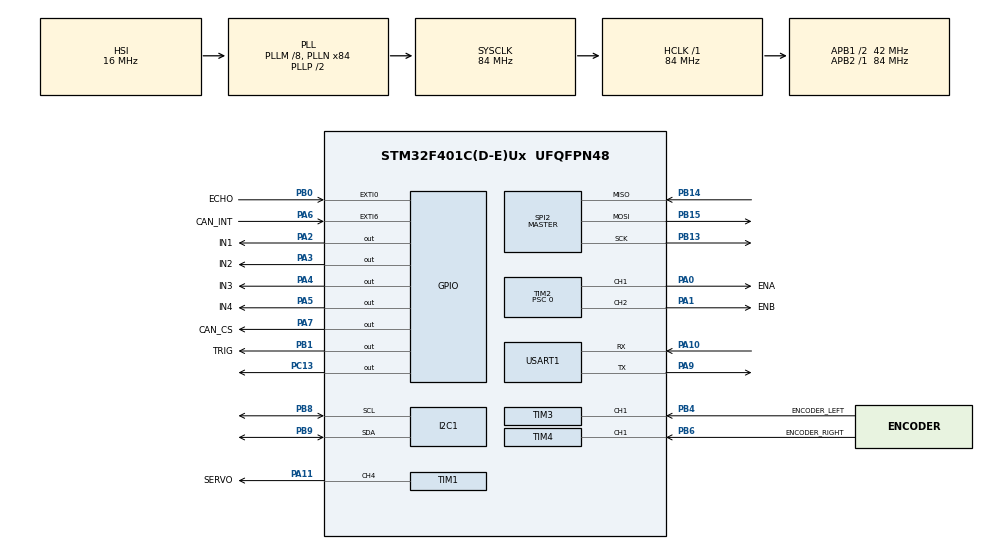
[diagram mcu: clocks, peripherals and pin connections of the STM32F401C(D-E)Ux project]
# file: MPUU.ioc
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FREERTOS.Tasks01=ControlTask,0,256,StartControlTask,Default,NULL,Dynamic,NULL,NULL;CanTX,-2,256,StartCanTX,Default,NULL,Dynamic,NULL,NULL;CanRX,2,256,StartCanRX,Default,NULL,Dynamic,NULL,NULL;SensorTask,1,256,StartSensorTask,Default,NULL,Dynamic,NULL,NULL
Mcu.Family=STM32F4
<<<<<<< HEAD
=======
>>>>>>> 3faaadd85c5af9eca4ef6b0895f32306aa979a87
Mcu.Name=STM32F401C(D-E)Ux
Mcu.Package=UFQFPN48
<<<<<<< HEAD
=======
>>>>>>> 3faaadd85c5af9eca4ef6b0895f32306aa979a87
<<<<<<< HEAD
=======
>>>>>>> 3faaadd85c5af9eca4ef6b0895f32306aa979a87
NVIC.EXTI0_IRQn=true\:5\:0\:false\:false\:true\:true\:true\:true\:true
NVIC.PriorityGroup=NVIC_PRIORITYGROUP_4
NVIC.TIM1_BRK_TIM9_IRQn=true\:15\:0\:false\:false\:true\:false\:false\:true\:true
NVIC.TimeBase=TIM1_BRK_TIM9_IRQn
NVIC.TimeBaseIP=TIM9
PA0-WKUP.GPIO_Label=ENA
PA0-WKUP.Signal=S_TIM2_CH1_ETR
PA1.GPIO_Label=ENB
PA1.Signal=S_TIM2_CH2
PA10.Mode=Asynchronous
PA10.Signal=USART1_RX
PA11.GPIO_Label=SERVO
PA11.Signal=S_TIM1_CH4
PA13.Mode=Serial_Wire
PA13.Signal=SYS_JTMS-SWDIO
PA14.Mode=Serial_Wire
PA14.Signal=SYS_JTCK-SWCLK
PA2.GPIO_Label=IN1
PA2.Signal=GPIO_Output
PA3.GPIO_Label=IN2
PA3.Signal=GPIO_Output
PA4.GPIO_Label=IN3
PA4.Signal=GPIO_Output
PA5.GPIO_Label=IN4
PA5.Signal=GPIO_Output
PA6.GPIO_Label=CAN_INT
PA6.GPIO_ModeDefaultEXTI=GPIO_MODE_IT_FALLING
PA6.Signal=GPXTI6
PA7.GPIO_Label=CAN_CS
PA7.PinState=GPIO_PIN_SET
PA7.Signal=GPIO_Output
PA9.Mode=Asynchronous
PA9.Signal=USART1_TX
PB0.GPIO_Label=ECHO
PB0.GPIO_ModeDefaultEXTI=GPIO_MODE_IT_RISING_FALLING
PB0.Signal=GPXTI0
PB1.GPIO_Label=TRIG
PB1.Signal=GPIO_Output
PB13.Mode=Full_Duplex_Master
PB13.Signal=SPI2_SCK
PB14.Mode=Full_Duplex_Master
PB14.Signal=SPI2_MISO
PB15.Mode=Full_Duplex_Master
PB15.Signal=SPI2_MOSI
PB4.GPIO_Label=ENCODER_LEFT
PB4.Signal=S_TIM3_CH1
PB6.GPIO_Label=ENCODER_RIGHT
PB6.Signal=S_TIM4_CH1
<<<<<<< HEAD
PB8.Mode=I2C
PB8.Signal=I2C1_SCL
PB9.Mode=I2C
PB9.Signal=I2C1_SDA
PC13-ANTI_TAMP.Signal=GPIO_Output
=======
PC13-ANTI_TAMP.Signal=GPIO_Output
>>>>>>> 3faaadd85c5af9eca4ef6b0895f32306aa979a87
PH0\ -\ OSC_IN.Mode=HSE-External-Oscillator
PH0\ -\ OSC_IN.Signal=RCC_OSC_IN
PH1\ -\ OSC_OUT.Mode=HSE-External-Oscillator
PH1\ -\ OSC_OUT.Signal=RCC_OSC_OUT
ProjectManager.HeapSize=0x200
ProjectManager.StackSize=0x400
ProjectManager.TargetToolchain=STM32CubeIDE
RCC.48MHZClocksFreq_Value=42000000
RCC.AHBFreq_Value=84000000
RCC.APB1CLKDivider=RCC_HCLK_DIV2
RCC.APB1Freq_Value=42000000
RCC.APB1TimFreq_Value=84000000
RCC.APB2Freq_Value=84000000
RCC.APB2TimFreq_Value=84000000
RCC.CortexFreq_Value=84000000
RCC.HCLKFreq_Value=84000000
RCC.HSE_VALUE=25000000
RCC.HSI_VALUE=16000000
RCC.LSE_VALUE=32768
RCC.PLLM=8
RCC.PLLN=84
RCC.SYSCLKFreq_VALUE=84000000
RCC.SYSCLKSource=RCC_SYSCLKSOURCE_PLLCLK
RCC.VCOOutputFreq_Value=168000000
SH.S_TIM1_CH4.0=TIM1_CH4,PWM Generation4 CH4
SH.S_TIM2_CH1_ETR.0=TIM2_CH1,PWM Generation1 CH1
SH.S_TIM2_CH2.0=TIM2_CH2,PWM Generation2 CH2
SH.S_TIM3_CH1.0=TIM3_CH1,TriggerSource_TI1FP1
SH.S_TIM4_CH1.0=TIM4_CH1,TriggerSource_TI1FP1
SPI2.Direction=SPI_DIRECTION_2LINES
SPI2.Mode=SPI_MODE_MASTER
SPI2.VirtualType=VM_MASTER
TIM1.Channel-PWM\ Generation4\ CH4=TIM_CHANNEL_4
TIM1.Period=19999
TIM1.Prescaler=83
TIM2.Channel-PWM\ Generation1\ CH1=TIM_CHANNEL_1
TIM2.Channel-PWM\ Generation2\ CH2=TIM_CHANNEL_2
TIM2.Period=999
TIM2.Prescaler=0
TIM5.Period=65535
TIM5.Prescaler=83
USART1.VirtualMode=VM_ASYNC
VP_FREERTOS_VS_CMSIS_V1.Mode=CMSIS_V1
VP_SYS_VS_tim9.Mode=TIM9
VP_TIM2_VS_ClockSourceINT.Mode=Internal
VP_TIM3_VS_ControllerModeClock.Mode=Clock Mode
VP_TIM4_VS_ControllerModeClock.Mode=Clock Mode
VP_TIM5_VS_ClockSourceINT.Mode=Internal
board=custom

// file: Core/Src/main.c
/* USER CODE BEGIN Header */
/**
  ******************************************************************************
  * @file           : main.c
  * @brief          : Main program body
  ******************************************************************************
  * @attention
  *
  * Copyright (c) 2026 STMicroelectronics.
  * All rights reserved.
  *
  * This software is licensed under terms that can be found in the LICENSE file
  * in the root directory of this software component.
  * If no LICENSE file comes with this software, it is provided AS-IS.
  *
  ******************************************************************************
  */
/* USER CODE END Header */
#include "main.h"
#include "cmsis_os.h"
#include "spi.h"
#include "tim.h"
#include "usart.h"
#include "gpio.h"
#include "mpu6050.h"
#include "CANSPI.h"
#include "debug.h"

void SystemClock_Config(void);
void MX_FREERTOS_Init(void);

int main(void)
{

  /* MCU Configuration--------------------------------------------------------*/

  /* Reset of all peripherals, Initializes the Flash interface and the Systick. */
  HAL_Init();

  /* USER CODE BEGIN Init */
  HAL_GPIO_WritePin(GPIOC, GPIO_PIN_13, GPIO_PIN_RESET);
  /* USER CODE END Init */

  /* Configure the system clock */
  SystemClock_Config();

  /* Initialize all configured peripherals */
  MX_GPIO_Init();
  MX_TIM2_Init();
  MX_USART1_UART_Init();
  MX_SPI2_Init();
  MX_TIM1_Init();
  MX_TIM3_Init();
  MX_TIM4_Init();
  MX_TIM5_Init();
  /* USER CODE BEGIN 2 */
  if (MPU6050_Init() == false) {
    debug_printf("ERROR: MPU6050 initialization failed!\r\n");
  } else {
    debug_printf("OK: MPU6050 initialized\r\n");
  }

  if (CANSPI_Initialize() == true) {
    debug_printf("OK: CAN (MCP2515) initialized\r\n");
  } else {
    debug_printf("ERROR: CAN (MCP2515) initialization failed!\r\n");
  }

  debug_printf("\r\n========== SYSTEM STARTED ==========");
  /* USER CODE END 2 */

  /* Call init function for freertos objects (in cmsis_os2.c) */
  MX_FREERTOS_Init();

  /* Start scheduler */
  osKernelStart();

  /* We should never get here as control is now taken by the scheduler */

  /* Infinite loop */
  while (1)
  {

  }
}

void SystemClock_Config(void)
{
  RCC_OscInitTypeDef RCC_OscInitStruct = {0};
  RCC_ClkInitTypeDef RCC_ClkInitStruct = {0};

  /** Configure the main internal regulator output voltage
  */
  __HAL_RCC_PWR_CLK_ENABLE();
  __HAL_PWR_VOLTAGESCALING_CONFIG(PWR_REGULATOR_VOLTAGE_SCALE2);

  /** Initializes the RCC Oscillators according to the specified parameters
  * in the RCC_OscInitTypeDef structure.
  */
  RCC_OscInitStruct.OscillatorType = RCC_OSCILLATORTYPE_HSI;
  RCC_OscInitStruct.HSIState = RCC_HSI_ON;
  RCC_OscInitStruct.HSICalibrationValue = RCC_HSICALIBRATION_DEFAULT;
  RCC_OscInitStruct.PLL.PLLState = RCC_PLL_ON;
  RCC_OscInitStruct.PLL.PLLSource = RCC_PLLSOURCE_HSI;
  RCC_OscInitStruct.PLL.PLLM = 8;
  RCC_OscInitStruct.PLL.PLLN = 84;
  RCC_OscInitStruct.PLL.PLLP = RCC_PLLP_DIV2;
  RCC_OscInitStruct.PLL.PLLQ = 4;
  if (HAL_RCC_OscConfig(&RCC_OscInitStruct) != HAL_OK)
  {
    Error_Handler();
  }

  /** Initializes the CPU, AHB and APB buses clocks
  */
  RCC_ClkInitStruct.ClockType = RCC_CLOCKTYPE_HCLK|RCC_CLOCKTYPE_SYSCLK
                              |RCC_CLOCKTYPE_PCLK1|RCC_CLOCKTYPE_PCLK2;
  RCC_ClkInitStruct.SYSCLKSource = RCC_SYSCLKSOURCE_PLLCLK;
  RCC_ClkInitStruct.AHBCLKDivider = RCC_SYSCLK_DIV1;
  RCC_ClkInitStruct.APB1CLKDivider = RCC_HCLK_DIV2;
  RCC_ClkInitStruct.APB2CLKDivider = RCC_HCLK_DIV1;

  if (HAL_RCC_ClockConfig(&RCC_ClkInitStruct, FLASH_LATENCY_2) != HAL_OK)
  {
    Error_Handler();
  }
}

void HAL_TIM_PeriodElapsedCallback(TIM_HandleTypeDef *htim)
{
  if (htim->Instance == TIM9)
  {
    HAL_IncTick();
  }
}

void Error_Handler(void)
{
  __disable_irq();
  while (1)
  {
  }
}

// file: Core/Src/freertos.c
/* USER CODE BEGIN Header */
/**
  ******************************************************************************
  * File Name          : freertos.c
  * Description        : Code for freertos applications
  ******************************************************************************
  */
/* USER CODE END Header */

#include "FreeRTOS.h"
#include "task.h"
#include "main.h"
#include "cmsis_os.h"

/* USER CODE BEGIN Includes */
#include "CANSPI.h"
#include "mpu6050.h"
#include "string.h"
#include <stdio.h>
#include "math.h"
#include "stdbool.h"
#include "debug.h"
#include "odometry.h"  // <--- Code của Lâm
/* USER CODE END Includes */

/* USER CODE BEGIN Variables */
extern UART_HandleTypeDef huart1;
extern SPI_HandleTypeDef hspi2;
OdometryHandle_t hOdom; // <--- THÊM BIẾN NÀY ĐỂ LƯU TỌA ĐỘ X, Y, THETA
volatile bool  obstacle_detected    = false;
volatile uint32_t pulse_left        = 0;
volatile uint32_t pulse_right       = 0;
volatile float desired_yaw          = 0.0f;

float speed_left    = 0.0f;
float speed_right   = 0.0f;
float total_distance = 0.0f;

volatile MPU6050_Angle_t mpu6050_angle = {0.0f, 0.0f, 0.0f};
volatile float mpu6050_roll  = 0.0f;
volatile float mpu6050_pitch = 0.0f;
volatile float mpu6050_yaw   = 0.0f;

float target_velocity = 0.0f;
float target_angular  = 0.0f;
const float DISTANCE_PER_PULSE = 0.01021f;

volatile uint32_t echo_time = 0;
volatile bool     echo_done = false;

/* Turn direction tracking via MPU6050 yaw */
volatile float yaw_before_turn = 0.0f;
volatile int16_t last_turn_direction = 0;

/* Debug variables for STLink watch */
volatile uint8_t can_tx_status = 0;
volatile uint8_t can_rx_status = 0;
volatile uint32_t can_tx_count = 0;
volatile uint32_t can_rx_count = 0;
volatile uint32_t can_last_rx_id = 0;
volatile float can_last_turn_yaw = 0.0f;

extern TIM_HandleTypeDef htim1;
extern TIM_HandleTypeDef htim2;
extern TIM_HandleTypeDef htim3;
extern TIM_HandleTypeDef htim4;
extern TIM_HandleTypeDef htim5;

/* PID Controller for Yaw Heading Correction */
typedef struct {
    float Kp;
    float Ki;
    float Kd;
    float error_integral;
    float error_prev;
    float integral_max;
    float output_max;
    float desired_yaw;
} YawPID_t;

static YawPID_t yaw_pid = {
    .Kp = 2.0f,
    .Ki = 0.3f,
    .Kd = 0.5f,
    .error_integral = 0.0f,
    .error_prev = 0.0f,
    .integral_max = 150.0f,
    .output_max = 400.0f,
    .desired_yaw = 0.0f
};

osSemaphoreId canRxSemaphoreHandle;
osMutexId spiMutexHandle;
bool heading_initialized = false;
volatile bool reset_imu_flag = false;
/* USER CODE END Variables */

osThreadId ControlTaskHandle;
osThreadId CanTXHandle;
osThreadId CanRXHandle;
osThreadId SensorTaskHandle;
osThreadId ImuTaskHandle;

/* USER CODE BEGIN FunctionPrototypes */
void Servo_SetAngle(uint8_t angle);
void Motor_SetSpeed(int16_t speed_left, int16_t speed_right);
void Robot_TurnLeft(void);
void Robot_TurnRight(void);
void Robot_TurnAround(void);
float HCSR04_GetDistance(void);
static void YawPID_Reset(void);
/* USER CODE END FunctionPrototypes */

void StartControlTask(void const * argument);
void StartCanTX(void const * argument);
void StartCanRX(void const * argument);
void StartSensorTask(void const * argument);
void StartImuTask(void const * argument);

void MX_FREERTOS_Init(void);

void vApplicationGetIdleTaskMemory(StaticTask_t **ppxIdleTaskTCBBuffer,
                                   StackType_t  **ppxIdleTaskStackBuffer,
                                   uint32_t      *pulIdleTaskStackSize);

static StaticTask_t xIdleTaskTCBBuffer;
static StackType_t  xIdleStack[configMINIMAL_STACK_SIZE];

void vApplicationGetIdleTaskMemory(StaticTask_t **ppxIdleTaskTCBBuffer,
                                   StackType_t  **ppxIdleTaskStackBuffer,
                                   uint32_t      *pulIdleTaskStackSize)
{
    *ppxIdleTaskTCBBuffer  = &xIdleTaskTCBBuffer;
    *ppxIdleTaskStackBuffer = &xIdleStack[0];
    *pulIdleTaskStackSize   = configMINIMAL_STACK_SIZE;
}

void MX_FREERTOS_Init(void)
{
    osSemaphoreDef(canRxSem);
    canRxSemaphoreHandle = osSemaphoreCreate(osSemaphore(canRxSem), 1);
    osSemaphoreWait(canRxSemaphoreHandle, 0);
    // BỔ SUNG 2 DÒNG NÀY VÀO ĐỂ TẠO MUTEX:
        osMutexDef(spiMutex);
        spiMutexHandle = osMutexCreate(osMutex(spiMutex));

    osThreadDef(ControlTask, StartControlTask, osPriorityNormal,      0, 256);
    ControlTaskHandle = osThreadCreate(osThread(ControlTask), NULL);

    osThreadDef(CanTX,       StartCanTX,       osPriorityLow,         0, 256);
    CanTXHandle = osThreadCreate(osThread(CanTX), NULL);

    osThreadDef(CanRX,       StartCanRX,       osPriorityHigh,        0, 256);
    CanRXHandle = osThreadCreate(osThread(CanRX), NULL);

    osThreadDef(SensorTask,  StartSensorTask,  osPriorityAboveNormal, 0, 512);
    SensorTaskHandle = osThreadCreate(osThread(SensorTask), NULL);

    osThreadDef(ImuTask,     StartImuTask,     osPriorityAboveNormal, 0, 256);
    ImuTaskHandle = osThreadCreate(osThread(ImuTask), NULL);
}

void StartImuTask(void const * argument)
{
    /* USER CODE BEGIN StartImuTask */
    static uint32_t imu_debug_counter = 0;
    float yaw_offset = 0.0f;
    for (;;)
    {
        MPU6050_Angle_t angle;
        if (MPU6050_ReadAngles(&angle)) {
            mpu6050_angle = angle;
            mpu6050_roll  = angle.roll;
            mpu6050_pitch = angle.pitch;
            mpu6050_yaw   = angle.yaw;
            if (reset_imu_flag == true) {
               yaw_offset = angle.yaw;
               reset_imu_flag = false; // Chốt xong thì tắt cờ
               }
            mpu6050_yaw = angle.yaw - yaw_offset;

            imu_debug_counter++;
            if (imu_debug_counter >= 2) {
                imu_debug_counter = 0;
                debug_printf("MPU6050 -> Roll:%.2f Pitch:%.2f Yaw:%.2f [RAW Ax:%d Ay:%d Az:%d Gx:%d Gy:%d Gz:%d]\r\n",
                    (double)mpu6050_roll, (double)mpu6050_pitch, (double)mpu6050_yaw,
                    mpu_raw_ax, mpu_raw_ay, mpu_raw_az, mpu_raw_gx, mpu_raw_gy, mpu_raw_gz);
            }
        } else {
            debug_printf("MPU6050 read FAILED!\r\n");
        }
        osDelay(50);
    }
    /* USER CODE END StartImuTask */
}

static float YawPID_Update(float desired_yaw, float current_yaw, float dt)
{
    float yaw_error = desired_yaw - current_yaw;
    while (yaw_error > 180.0f)  yaw_error -= 360.0f;
    while (yaw_error < -180.0f) yaw_error += 360.0f;

    float p_term = yaw_pid.Kp * yaw_error;

    yaw_pid.error_integral += yaw_error * dt;

    if (yaw_pid.error_integral > yaw_pid.integral_max) {
        yaw_pid.error_integral = yaw_pid.integral_max;
    } else if (yaw_pid.error_integral < -yaw_pid.integral_max) {
        yaw_pid.error_integral = -yaw_pid.integral_max;
    }

    float i_term = yaw_pid.Ki * yaw_pid.error_integral;

    float d_term = 0.0f;
    if (dt > 0.001f) {
        float error_derivative = (yaw_error - yaw_pid.error_prev) / dt;
        d_term = yaw_pid.Kd * error_derivative;
        yaw_pid.error_prev = yaw_error;
    }

    float correction = p_term + i_term + d_term;

    if (correction > yaw_pid.output_max) {
        correction = yaw_pid.output_max;
    } else if (correction < -yaw_pid.output_max) {
        correction = -yaw_pid.output_max;
    }

    return correction;
}

static void YawPID_Reset(void)
{
    yaw_pid.error_integral = 0.0f;
    yaw_pid.error_prev = 0.0f;
}

/* ══════════════════════════════════════════════════════════════════════════
   ControlTask — ĐÃ FIX LOGIC KHÔNG ĐÈ GÓC YAW & ODOMETRY CHUẨN
   ══════════════════════════════════════════════════════════════════════════ */
void StartControlTask(void const * argument)
{
    /* USER CODE BEGIN StartControlTask */
    HAL_TIM_PWM_Start(&htim2, TIM_CHANNEL_1);
    HAL_TIM_PWM_Start(&htim2, TIM_CHANNEL_2);
    HAL_TIM_PWM_Start(&htim1, TIM_CHANNEL_4);
    __HAL_TIM_MOE_ENABLE(&htim1);

    // =========================================================
    // CODE LÂM: ÉP CẤU HÌNH CHÂN ENCODER QUANG 1 DÂY
    // =========================================================
    GPIO_InitTypeDef GPIO_InitStruct = {0};
    __HAL_RCC_GPIOB_CLK_ENABLE();

    // Bánh Trái (TIM3) - Dây PB4
    GPIO_InitStruct.Pin = GPIO_PIN_4;
    GPIO_InitStruct.Mode = GPIO_MODE_AF_PP;
    GPIO_InitStruct.Pull = GPIO_NOPULL;
    GPIO_InitStruct.Speed = GPIO_SPEED_FREQ_HIGH;
    GPIO_InitStruct.Alternate = GPIO_AF2_TIM3;
    HAL_GPIO_Init(GPIOB, &GPIO_InitStruct);

    // Bánh Phải (TIM4) - Dây PB6
    GPIO_InitStruct.Pin = GPIO_PIN_6;
    GPIO_InitStruct.Alternate = GPIO_AF2_TIM4;
    HAL_GPIO_Init(GPIOB, &GPIO_InitStruct);

    HAL_TIM_Base_Start(&htim3);
    HAL_TIM_Base_Start(&htim4);

    // Khởi tạo Odometry: Bánh 3.3cm, Trục 10.6cm, 330 xung/vòng
    Odometry_Init(&hOdom, 0.033f, 0.106f, 330, NULL, NULL);

    uint32_t last_time = HAL_GetTick();
    static uint32_t debug_counter = 0;
    bool heading_initialized = false; // Phải khai báo biến này

    // BẮT BUỘC ĐỂ 2 BIẾN NÀY NGOÀI VÒNG LẶP ĐỂ NHỚ CHIỀU QUAY!
    int16_t cmd_left  = 600;
    int16_t cmd_right = 600;

    for (;;)
    {
        // 1. TÍNH dt
        uint32_t current_time = HAL_GetTick();
        float dt = (float)(current_time - last_time) / 1000.0f;
        if (dt > 0.1f) dt = 0.02f;
        if (dt < 0.001f) dt = 0.001f;
        last_time = current_time;

        // 2. ĐỌC ENCODER VÀ BÙ DẤU
        pulse_left  = __HAL_TIM_GET_COUNTER(&htim3);
        pulse_right = __HAL_TIM_GET_COUNTER(&htim4);
        __HAL_TIM_SET_COUNTER(&htim3, 0);
        __HAL_TIM_SET_COUNTER(&htim4, 0);

        float v_L_raw = ((float)pulse_left  * DISTANCE_PER_PULSE) / dt;
        float v_R_raw = ((float)pulse_right * DISTANCE_PER_PULSE) / dt;

        // Dùng cmd_left của vòng lặp TRƯỚC để biết chiều quay
        speed_left  = (cmd_left  < 0) ? -v_L_raw : v_L_raw;
        speed_right = (cmd_right < 0) ? -v_R_raw : v_R_raw;

        // 3. TÍNH TOÁN ODOMETRY (Lâm thêm vào đây)
        float v_center = (speed_left + speed_right) / 2.0f;
//        float omega = (speed_right - speed_left) / 0.106f;

//        hOdom.pose.theta += omega * dt;
//        if (hOdom.pose.theta > 3.14159f)  hOdom.pose.theta -= 6.28318f;
//        if (hOdom.pose.theta < -3.14159f) hOdom.pose.theta += 6.28318f;
        // THAY BẰNG DÒNG NÀY: Ép góc Theta bằng chính góc Yaw của MPU6050 (Đổi từ Độ sang Radian)
        hOdom.pose.theta = mpu6050_yaw * (3.14159f / 180.0f);
        hOdom.pose.x += v_center * cosf(hOdom.pose.theta) * dt;
        hOdom.pose.y += v_center * sinf(hOdom.pose.theta) * dt;

        // 4. CHẠY PID CỦA NHẬT
        if (obstacle_detected == false) {
            /* Chỉ lấy mpu6050_yaw gốc đúng 1 lần duy nhất lúc mới bật nguồn */
            if (!heading_initialized) {
                desired_yaw = mpu6050_yaw;
                yaw_pid.desired_yaw = desired_yaw;
                YawPID_Reset();
                heading_initialized = true;
            }

            /* Chạy PID ổn định hướng */
            float correction = YawPID_Update(desired_yaw, mpu6050_yaw, dt);

            debug_counter++;
            if (debug_counter >= 25) {
                debug_counter = 0;
                float yaw_err = desired_yaw - mpu6050_yaw;
                while (yaw_err > 180.0f) yaw_err -= 360.0f;
                while (yaw_err < -180.0f) yaw_err += 360.0f;

                debug_printf("[PID] Desired:%.2f Current:%.2f Error:%.2f | Correction:%.1f | Cmd_L:%d Cmd_R:%d\r\n",
                    (double)desired_yaw, (double)mpu6050_yaw, (double)yaw_err, (double)correction, cmd_left, cmd_right);
            }

            // Ghi đè biến cmd_left, cmd_right ĐỂ VÒNG LẶP SAU DÙNG BÙ DẤU
            cmd_left  = (int16_t)(600.0f + correction);
            cmd_right = (int16_t)(600.0f - correction);

            if (cmd_left > 999)  cmd_left = 999;
            if (cmd_left < 0)    cmd_left = 0;
            if (cmd_right > 999) cmd_right = 999;
            if (cmd_right < 0)   cmd_right = 0;

            Motor_SetSpeed(cmd_left, cmd_right);

        } else {
            /* FIX: Có vật cản -> Tắt MPU PID, dừng xích động cơ lập tức */
            speed_left  = 0.0f;
            speed_right = 0.0f;
            // Ép cmd về 0 để vòng lặp sau Encoder không bị nhận sai dấu
            cmd_left = 0;
            cmd_right = 0;
            heading_initialized = false;
        }

        osDelay(20);
    }
    /* USER CODE END StartControlTask */
}

void StartCanTX(void const * argument)
{
    /* USER CODE BEGIN StartCanTX */
    uCAN_MSG tx_frame;
    memset(&tx_frame, 0, sizeof(tx_frame)); // <--- Thêm dòng dọn rác này
    tx_frame.frame.idType = dSTANDARD_CAN_MSG_ID_2_0B;

    for (;;)
    {
        // ==========================================
        // 1. GÓI 0x201: TỌA ĐỘ X VÀ Y (Thay thế cho vận tốc)
        // ==========================================
        tx_frame.frame.id = 0x201;
        tx_frame.frame.dlc = 8;
        memcpy(&tx_frame.frame.data0, &hOdom.pose.x, 4); // 4 byte cho X
        memcpy(&tx_frame.frame.data4, &hOdom.pose.y, 4); // 4 byte cho Y

        // BẮT BUỘC kẹp Mutex bảo vệ SPI
        if (osMutexWait(spiMutexHandle, 10) == osOK) {
            uint8_t tx_status = CANSPI_Transmit(&tx_frame);
            osMutexRelease(spiMutexHandle);

            can_tx_status = tx_status;
            if (tx_status) can_tx_count++;
        }
        osDelay(5); // Nghỉ 5ms để MCP2515 xả bộ đệm, tránh rớt gói tin

        // ==========================================
        // 2. GÓI 0x203: GÓC THETA
        // ==========================================
        tx_frame.frame.id = 0x203;
        tx_frame.frame.dlc = 4; // Chỉ cần 4 byte cho 1 biến float
        memcpy(&tx_frame.frame.data0, &hOdom.pose.theta, 4);

        if (osMutexWait(spiMutexHandle, 10) == osOK) {
            CANSPI_Transmit(&tx_frame);
            osMutexRelease(spiMutexHandle);
        }
        osDelay(5); // Tiếp tục nghỉ 5ms

        // ==========================================
        // 3. GÓI 0x202: SỰ KIỆN RẼ (Của Nhật, giữ nguyên)
        // ==========================================
        if (last_turn_direction != 0) {
            uCAN_MSG turn_frame;
            turn_frame.frame.idType = dSTANDARD_CAN_MSG_ID_2_0B;
            turn_frame.frame.id     = 0x202;
            turn_frame.frame.dlc    = 6;

            int16_t turn_dir = last_turn_direction;
            memcpy(&turn_frame.frame.data0, &turn_dir, 2);

            float yaw_val = mpu6050_yaw;
            memcpy(&turn_frame.frame.data2, &yaw_val, 4);

            if (osMutexWait(spiMutexHandle, 10) == osOK) {
                uint8_t turn_tx = CANSPI_Transmit(&turn_frame);
                osMutexRelease(spiMutexHandle);

                can_tx_status = turn_tx;
                if (turn_tx) can_tx_count++;
            }
            can_last_turn_yaw = yaw_val;
            last_turn_direction = 0; // Xóa cờ sau khi gửi
        }

        // ==========================================
        // CHU KỲ CẬP NHẬT
        // ==========================================
        osDelay(100); // FIX: Giảm từ 500ms xuống 100ms để vẽ map mượt mà 10Hz
    }
    /* USER CODE END StartCanTX */
}

void StartCanRX(void const * argument)
{
    /* USER CODE BEGIN StartCanRX */
    uCAN_MSG rx_frame;

    for (;;)
    {
        if (osSemaphoreWait(canRxSemaphoreHandle, osWaitForever) == osOK)
        {
            uint8_t rx_result = 0;

            // 1. KẸP MUTEX BẢO VỆ CỔNG SPI TRƯỚC KHI ĐỌC MCP2515
            if (osMutexWait(spiMutexHandle, 10) == osOK) {
                rx_result = CANSPI_Receive(&rx_frame);
                osMutexRelease(spiMutexHandle);
            }

            can_rx_status = rx_result;

            if (rx_result) {
                can_rx_count++;
                can_last_rx_id = rx_frame.frame.id;

                // 2. XỬ LÝ GÓI TIN ĐIỀU KHIỂN
                if (rx_frame.frame.id == 0x101)
                {
                    // Copy 4 byte đầu cho Vận tốc
                    memcpy(&target_velocity, &rx_frame.frame.data0, 4);
                    // SỬA LỖI: Copy 4 byte sau cho Góc (Bắt đầu từ data4)
                    memcpy(&target_angular,  &rx_frame.frame.data4, 4);
                }
            }
        }
    }
    /* USER CODE END StartCanRX */
}

void StartSensorTask(void const * argument)
{
    /* USER CODE BEGIN StartSensorTask */
    Servo_SetAngle(90);
    osDelay(500);

    for (;;)
    {
        float dist_front = HCSR04_GetDistance();

        if (dist_front > 0.0f && dist_front < 25.0f) {
            obstacle_detected = true; // Kích hoạt cờ báo dừng PID và khóa động cơ bánh
            Motor_SetSpeed(0, 0);
            osDelay(1000);

            Servo_SetAngle(180);
            osDelay(1000);
            float dist_left = HCSR04_GetDistance();

            Servo_SetAngle(0);
            osDelay(1000);
            float dist_right = HCSR04_GetDistance();

            Servo_SetAngle(90);
            osDelay(1000);

            if (dist_left > dist_right && dist_left > 30.0f) {
                Robot_TurnLeft();
            } else if (dist_right > dist_left && dist_right > 30.0f) {
                Robot_TurnRight();
            } else {
                Robot_TurnAround();
            }

            obstacle_detected = false; // Nhường quyền lại cho PID điều khiển đi thẳng
        }

        osDelay(50);
    }
    /* USER CODE END StartSensorTask */
}

/* ══════════════════════════════════════════════════════════════════════════
   Application functions — THÊM LỆNH RESET BỘ NHỚ LỖI NGAY SAU KHI RẼ XONG
   ══════════════════════════════════════════════════════════════════════════ */

/* USER CODE BEGIN Application */

void Servo_SetAngle(uint8_t angle)
{
    if (angle > 180) angle = 180;
    uint32_t pulse = 800 + ((uint32_t)angle * 70) / 9;
    __HAL_TIM_SET_COMPARE(&htim1, TIM_CHANNEL_4, pulse);
}

void Motor_SetSpeed(int16_t speed_left, int16_t speed_right)
{

    if (speed_left >= 0) {
        HAL_GPIO_WritePin(GPIOA, GPIO_PIN_2, GPIO_PIN_SET);
        HAL_GPIO_WritePin(GPIOA, GPIO_PIN_3, GPIO_PIN_RESET);
        __HAL_TIM_SET_COMPARE(&htim2, TIM_CHANNEL_1, speed_left);
    } else {
        HAL_GPIO_WritePin(GPIOA, GPIO_PIN_2, GPIO_PIN_RESET);
        HAL_GPIO_WritePin(GPIOA, GPIO_PIN_3, GPIO_PIN_SET);
        __HAL_TIM_SET_COMPARE(&htim2, TIM_CHANNEL_1, -speed_left);
    }

    if (speed_right >= 0) {
        HAL_GPIO_WritePin(GPIOA, GPIO_PIN_4, GPIO_PIN_SET);
        HAL_GPIO_WritePin(GPIOA, GPIO_PIN_5, GPIO_PIN_RESET);
        __HAL_TIM_SET_COMPARE(&htim2, TIM_CHANNEL_2, speed_right);
    } else {
        HAL_GPIO_WritePin(GPIOA, GPIO_PIN_4, GPIO_PIN_RESET);
        HAL_GPIO_WritePin(GPIOA, GPIO_PIN_5, GPIO_PIN_SET);
        __HAL_TIM_SET_COMPARE(&htim2, TIM_CHANNEL_2, -speed_right);
    }
}

static float NormalizeYaw(float angle)
{
    while (angle > 180.0f)  angle -= 360.0f;
    while (angle < -180.0f) angle += 360.0f;
    return angle;
}

// Lấy trung bình góc để tránh nhiễu do thân xe còn rung lắc
static float GetStableYaw(void)
{
    float yaw1 = mpu6050_yaw;
    osDelay(100);
    float yaw2 = mpu6050_yaw;
    return NormalizeYaw((yaw1 + yaw2) * 0.5f);
}

static void SendTurnFrame(int16_t turn_dir, float yaw_val)
{
    uCAN_MSG turn_frame;
    memset(&turn_frame, 0, sizeof(turn_frame)); // Dọn rác bộ nhớ trước khi nạp data

    turn_frame.frame.idType = dSTANDARD_CAN_MSG_ID_2_0B;
    turn_frame.frame.id     = 0x202;
    turn_frame.frame.dlc    = 6;

    memcpy(&turn_frame.frame.data0, &turn_dir, 2);
    memcpy(&turn_frame.frame.data2, &yaw_val, 4);

    // Kẹp Mutex bảo vệ SPI để tránh đụng độ với luồng CanTX
    if (osMutexWait(spiMutexHandle, 10) == osOK) {
        uint8_t tx = CANSPI_Transmit(&turn_frame);
        osMutexRelease(spiMutexHandle);
        if (tx) can_tx_count++;
    }
}
// ==========================================
// CÁC HÀM RẼ QUÁN TÍNH (MÙ) - TINH GỌN
// ==========================================

void Robot_TurnLeft(void)
{
    // 1. Cấp ga rẽ mù (Căn lại osDelay cho vừa 90 độ)
    Motor_SetSpeed(999,0);
    osDelay(200);
    Motor_SetSpeed(0, 0);

    // 2. Chờ thân xe bớt rung lắc cơ học
    osDelay(50);
    reset_imu_flag = true; // Ra lệnh cho ImuTask tự tính lại mốc 0 độ

    desired_yaw = 0.0f;
    YawPID_Reset(); // BẮT BUỘC PHẢI CÓ
    // 4. Bắn sự kiện lên CAN (Quy ước -90 là rẽ trái)
    SendTurnFrame(-90, desired_yaw);
    char uart_msg[80];
    int len = sprintf(uart_msg, "[TURN] dir=LEFT yaw=%.2f\r\n", desired_yaw);
    HAL_UART_Transmit(&huart1, (uint8_t*)uart_msg, len, 100);
}

void Robot_TurnRight(void)
{
    // 1. Cấp ga rẽ mù
    Motor_SetSpeed(0,999);
    osDelay(200);
    Motor_SetSpeed(0, 0);

    // 2. Chờ thân xe tĩnh lại
    osDelay(50);
    reset_imu_flag = true; // Ra lệnh cho ImuTask tự tính lại mốc 0 độ
    desired_yaw = 0.0f;
    YawPID_Reset(); // BẮT BUỘC PHẢI CÓ
    // 4. Bắn sự kiện lên CAN (Quy ước 90 là rẽ phải)
    SendTurnFrame(90, desired_yaw);
    char uart_msg[80];
    int len = sprintf(uart_msg, "[TURN] dir=RIGHT yaw=%.2f\r\n", desired_yaw);
    HAL_UART_Transmit(&huart1, (uint8_t*)uart_msg, len, 100);
}

void Robot_TurnAround(void)
{
    // 1. Cấp ga rẽ mù quay đầu
    Motor_SetSpeed(999, 0);
    osDelay(400);
    Motor_SetSpeed(0, 0);

    // 2. Chờ thân xe tĩnh lại
    osDelay(50);
    reset_imu_flag = true; // Ra lệnh cho ImuTask tự tính lại mốc 0 độ
    desired_yaw = 0.0f;
    YawPID_Reset(); // BẮT BUỘC PHẢI CÓ

    // 4. Bắn sự kiện lên CAN (Quy ước 180 là quay đầu)
    SendTurnFrame(180, desired_yaw);
    char uart_msg[80];
    int len = sprintf(uart_msg, "[TURN] dir=AROUND yaw=%.2f\r\n", desired_yaw);
    HAL_UART_Transmit(&huart1, (uint8_t*)uart_msg, len, 100);
}

void HAL_GPIO_EXTI_Callback(uint16_t GPIO_Pin)
{
    if (GPIO_Pin == GPIO_PIN_0)
    {
        if (HAL_GPIO_ReadPin(GPIOB, GPIO_PIN_0) == GPIO_PIN_SET) {
            __HAL_TIM_SET_COUNTER(&htim5, 0);
            HAL_TIM_Base_Start(&htim5);
        } else {
            HAL_TIM_Base_Stop(&htim5);
            echo_time = __HAL_TIM_GET_COUNTER(&htim5);
            echo_done = true;
        }
    }
}

float HCSR04_GetDistance(void)
{
    echo_done = false;

    HAL_GPIO_WritePin(GPIOB, GPIO_PIN_1, GPIO_PIN_SET);
    for (volatile int i = 0; i < 200; i++) { __NOP(); }
    HAL_GPIO_WritePin(GPIOB, GPIO_PIN_1, GPIO_PIN_RESET);

    uint32_t start_tick = osKernelSysTick();
    while (echo_done == false)
    {
        if ((osKernelSysTick() - start_tick) > 30) {
            return 999.0f;
        }
        osDelay(1);
    }

    float distance = (echo_time * 0.0343f) / 2.0f;
    return distance;
}
/* USER CODE END Application */
